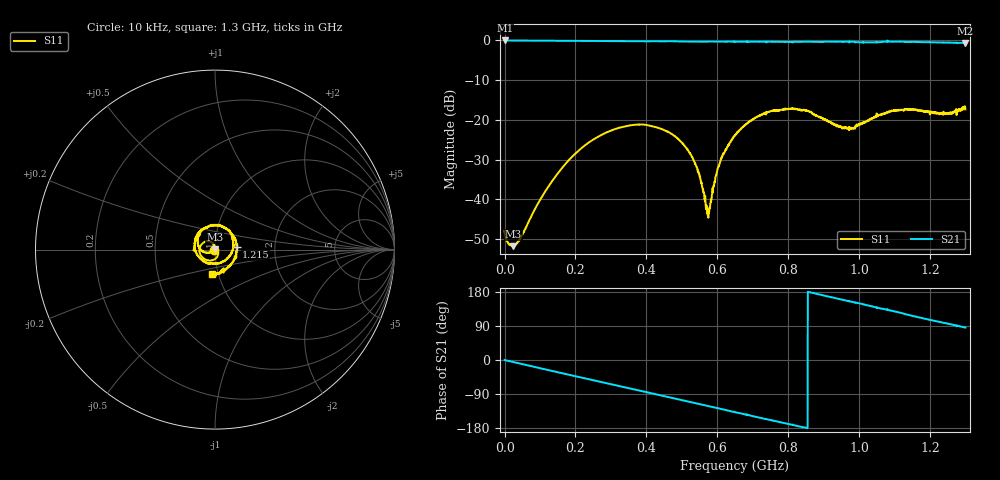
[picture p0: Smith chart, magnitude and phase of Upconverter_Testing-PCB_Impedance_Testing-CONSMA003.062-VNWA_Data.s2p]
! ListType=Lin
# MHZ S DB R 50
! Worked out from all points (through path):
!   2048 points, 10 kHz to 1.3 GHz, reference 50 ohm
!   highest |S21| = 0.00 dB at 645.1 kHz (marker M1); lowest = -0.7 dB at 1.299 GHz (marker M2)
!   group delay of S21, straight-line fit = 585 ps
!   lowest |S11| = -51.8 dB at 24.14 MHz (marker M3), VSWR 1.01, Z = 49.9 + j0.238 ohm
!   |S11| at or under -10 dB: start of sweep to end of sweep
!   S12 and S22 are empty: the file has one direction only
!   S11 on the Smith chart (normalised r, x): 10 kHz: 0.99, -0.00; 1.215 GHz: 1.27, +0.04; 1.3 GHz: 0.93, -0.25
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0.01  -48.00 -179.0  -0.00 -0.0  -3000.00 -90.0  -3000.00 -90.0
0.6450708  -48.41 173.6  -0.00 -0.2  -3000.00 -90.0  -3000.00 -90.0
24.14269  -51.80 111.8  -0.02 -5.3  -3000.00 -90.0  -3000.00 -90.0
45.7351  -49.56 61.7  -0.03 -10.0  -3000.00 -90.0  -3000.00 -90.0
132.7398  -35.58 -26.8  -0.09 -28.6  -3000.00 -90.0  -3000.00 -90.0
217.2042  -27.08 -76.6  -0.14 -46.5  -3000.00 -90.0  -3000.00 -90.0
324.5312  -21.96 -140.7  -0.18 -69.0  -3000.00 -90.0  -3000.00 -90.0
433.7634  -22.01 156.7  -0.21 -91.9  -3000.00 -90.0  -3000.00 -90.0
483.934  -24.36 129.0  -0.19 -102.5  -3000.00 -90.0  -3000.00 -90.0
523.3084  -28.38 109.8  -0.28 -110.8  -3000.00 -90.0  -3000.00 -90.0
546.1709  -33.08 102.7  -0.29 -115.6  -3000.00 -90.0  -3000.00 -90.0
573.479  -44.14 154.5  -0.31 -121.3  -3000.00 -90.0  -3000.00 -90.0
606.5026  -30.97 -152.1  -0.28 -128.6  -3000.00 -90.0  -3000.00 -90.0
650.3225  -23.80 -168.3  -0.31 -138.0  -3000.00 -90.0  -3000.00 -90.0
753.8391  -17.72 125.0  -0.32 -159.4  -3000.00 -90.0  -3000.00 -90.0
866.8817  -18.26 39.9  -0.31 177.5  -3000.00 -90.0  -3000.00 -90.0
973.5736  -22.42 -86.5  -0.29 154.8  -3000.00 -90.0  -3000.00 -90.0
1083.441  -17.86 147.3  -0.29 131.8  -3000.00 -90.0  -3000.00 -90.0
1150.123  -17.42 81.8  -0.37 116.5  -3000.00 -90.0  -3000.00 -90.0
1214.901  -18.32 7.6  -0.49 103.0  -3000.00 -90.0  -3000.00 -90.0
1299.365  -16.76 -93.8  -0.67 85.4  -3000.00 -90.0  -3000.00 -90.0
1300  -17.35 -97.9  -0.60 85.7  -3000.00 -90.0  -3000.00 -90.0
